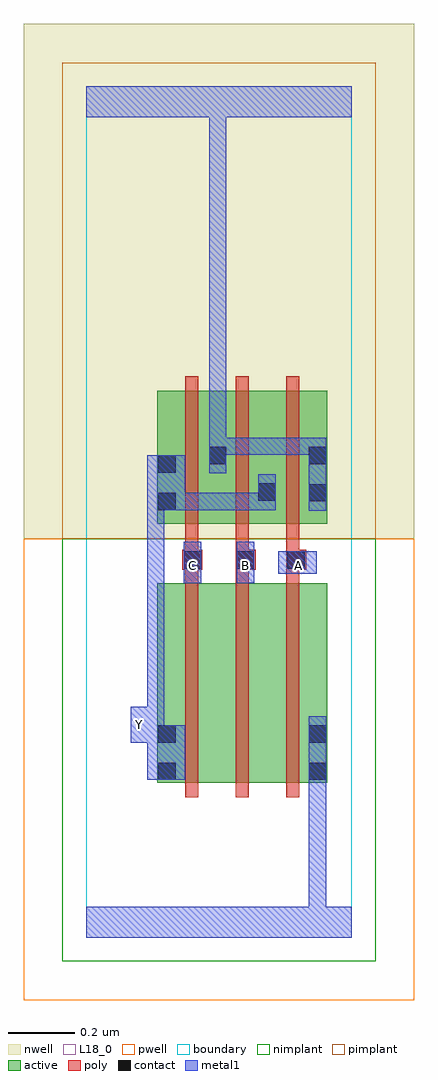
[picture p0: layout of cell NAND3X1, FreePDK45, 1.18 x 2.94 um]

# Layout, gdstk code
import gdstk
lib = gdstk.Library(unit=1e-6, precision=1e-09)
def R(c, l, rs):  # rectangles x0, y0, x1, y1
    for r in rs: c.add(gdstk.rectangle(r[:2], r[2:], *l))
def A(c, l, x, y, w, h, nx, ny, dx, dy):  # array of equal rectangles
    R(c, l, [(x+i*dx, y+j*dy, x+i*dx+w, y+j*dy+h) for i in range(nx) for j in range(ny)])
active = (1, 0)
pwell = (2, 0)
nwell = (3, 0)
nimplant = (4, 0)
pimplant = (5, 0)
poly = (9, 0)
contact = (10, 0)
metal1 = (11, 0)
L18_0 = (18, 0)
boundary = (235, 0)

nand3x1 = lib.new_cell('NAND3X1')
R(nand3x1, active, [(0.214,0.466,0.394,1.066), (0.394,0.466,0.546,1.066), (0.546,0.466,0.726,1.066), (0.666,0.466,0.726,1.066), (0.214,0.47,0.274,1.066), (0.214,1.244,0.274,1.644), (0.214,1.244,0.426,1.644), (0.366,1.244,0.426,1.644), (0.366,1.244,0.574,1.644), (0.514,1.244,0.574,1.644), (0.514,1.244,0.726,1.644), (0.666,1.244,0.726,1.644)])
R(nand3x1, pwell, [(-0.188,-0.188,0.988,1.2)])
R(nand3x1, nwell, [(-0.188,1.2,0.988,2.748)])
R(nand3x1, nimplant, [(-0.072,-0.072,0.872,1.2)])
R(nand3x1, pimplant, [(-0.072,1.2,0.872,2.632)])
A(nand3x1, poly, 0.298, 0.422, 0.04, 0.688, 3, 1, 0.152, 0)
A(nand3x1, poly, 0.298, 1.07, 0.04, 0.076, 3, 1, 0.152, 0)
A(nand3x1, poly, 0.298, 1.126, 0.04, 0.114, 3, 1, 0.152, 0)
A(nand3x1, poly, 0.298, 1.2, 0.04, 0.488, 3, 1, 0.152, 0)
R(nand3x1, poly, [(0.29,1.106,0.35,1.166), (0.45,1.106,0.49,1.146), (0.45,1.106,0.49,1.146), (0.45,1.106,0.51,1.166), (0.602,1.106,0.642,1.146), (0.602,1.106,0.642,1.146), (0.602,1.106,0.662,1.166), (0.298,1.126,0.338,1.166), (0.298,1.126,0.338,1.166)])
R(nand3x1, contact, [(0.218,0.474,0.27,0.526), (0.67,0.474,0.722,0.526), (0.218,0.586,0.27,0.638), (0.67,0.586,0.722,0.638), (0.294,1.11,0.346,1.162), (0.454,1.11,0.506,1.162), (0.606,1.11,0.658,1.162), (0.218,1.286,0.27,1.338), (0.67,1.312,0.722,1.364), (0.518,1.314,0.57,1.366), (0.218,1.398,0.27,1.45), (0.37,1.424,0.422,1.476), (0.67,1.424,0.722,1.476)])
R(nand3x1, metal1, [(0,0,0.8,0.092), (0.67,0.04,0.722,0.092), (0.67,0.04,0.722,0.092), (0.67,0.04,0.722,0.092), (0.67,0.04,0.722,0.092), (0.67,0.04,0.722,0.092), (0.67,0.04,0.722,0.092), (0.67,0.04,0.722,0.498), (0.67,0.446,0.722,0.666), (0.67,0.446,0.722,0.498), (0.67,0.446,0.722,0.498), (0.184,0.474,0.298,0.638), (0.134,0.586,0.236,0.694), (0.184,0.586,0.236,0.638), (0.184,0.642,0.236,1.338), (0.294,1.066,0.346,1.19), (0.454,1.066,0.506,1.19), (0.578,1.094,0.694,1.162), (0.67,1.284,0.722,1.504), (0.184,1.286,0.236,1.338), (0.184,1.286,0.236,1.338), (0.184,1.286,0.298,1.45), (0.246,1.286,0.298,1.338), (0.246,1.286,0.298,1.338), (0.246,1.286,0.46,1.338), (0.408,1.286,0.57,1.338), (0.408,1.286,0.46,1.338), (0.408,1.286,0.46,1.338), (0.408,1.286,0.46,1.338), (0.518,1.286,0.57,1.394), (0.37,1.396,0.422,1.504), (0.37,1.452,0.422,1.504), (0.37,1.452,0.422,1.504), (0.37,1.452,0.422,1.504), (0.37,1.452,0.422,1.504), (0.37,1.452,0.422,1.504), (0.37,1.452,0.422,1.504), (0.37,1.452,0.422,1.504), (0.37,1.452,0.422,1.504), (0.37,1.452,0.422,1.504), (0.37,1.452,0.422,1.504), (0.37,1.452,0.422,1.504), (0.37,1.452,0.422,1.504), (0.37,1.452,0.612,1.504), (0.37,1.452,0.422,2.52), (0.56,1.452,0.722,1.504), (0.56,1.452,0.612,1.504), (0.56,1.452,0.612,1.504), (0.56,1.452,0.612,1.504), (0,2.468,0.8,2.56), (0.37,2.468,0.422,2.52), (0.37,2.468,0.422,2.52), (0.37,2.468,0.422,2.52), (0.37,2.468,0.422,2.52), (0.37,2.468,0.422,2.52), (0.37,2.468,0.422,2.52)])
A(nand3x1, L18_0, 0.294, 1.094, 0.052, 0.052, 3, 1, 0.16, 0)
R(nand3x1, L18_0, [(0,0,0.8,0.092), (0.67,0.04,0.722,0.092), (0.67,0.04,0.722,0.092), (0.67,0.04,0.722,0.092), (0.67,0.04,0.722,0.092), (0.67,0.04,0.722,0.092), (0.67,0.04,0.722,0.092), (0.67,0.04,0.722,0.498), (0.67,0.446,0.722,0.498), (0.67,0.446,0.722,0.498), (0.67,0.446,0.722,0.666), (0.184,0.474,0.298,0.638), (0.134,0.586,0.236,0.694), (0.184,0.586,0.236,0.638), (0.134,0.614,0.186,0.666), (0.184,0.642,0.236,1.338), (0.294,1.066,0.346,1.19), (0.454,1.066,0.506,1.19), (0.578,1.094,0.694,1.162), (0.67,1.284,0.722,1.504), (0.184,1.286,0.298,1.45), (0.184,1.286,0.236,1.338), (0.184,1.286,0.236,1.338), (0.246,1.286,0.298,1.338), (0.246,1.286,0.298,1.338), (0.246,1.286,0.46,1.338), (0.408,1.286,0.46,1.338), (0.408,1.286,0.46,1.338), (0.408,1.286,0.46,1.338), (0.408,1.286,0.57,1.338), (0.518,1.286,0.57,1.394), (0.37,1.396,0.422,1.504), (0.37,1.452,0.422,1.504), (0.37,1.452,0.422,1.504), (0.37,1.452,0.422,1.504), (0.37,1.452,0.422,1.504), (0.37,1.452,0.422,1.504), (0.37,1.452,0.422,1.504), (0.37,1.452,0.422,1.504), (0.37,1.452,0.422,1.504), (0.37,1.452,0.422,1.504), (0.37,1.452,0.422,1.504), (0.37,1.452,0.422,1.504), (0.37,1.452,0.422,1.504), (0.37,1.452,0.422,2.52), (0.37,1.452,0.612,1.504), (0.56,1.452,0.612,1.504), (0.56,1.452,0.612,1.504), (0.56,1.452,0.612,1.504), (0.56,1.452,0.722,1.504), (0,2.468,0.8,2.56), (0.37,2.468,0.422,2.52), (0.37,2.468,0.422,2.52), (0.37,2.468,0.422,2.52), (0.37,2.468,0.422,2.52), (0.37,2.468,0.422,2.52), (0.37,2.468,0.422,2.52)])
R(nand3x1, boundary, [(0,0,0.8,2.56)])
nand3x1.add(gdstk.Label('A', (0.64,1.12), layer=11, texttype=0))
nand3x1.add(gdstk.Label('B', (0.48,1.12), layer=11, texttype=0))
nand3x1.add(gdstk.Label('C', (0.32,1.12), layer=11, texttype=0))
nand3x1.add(gdstk.Label('Y', (0.16,0.64), layer=11, texttype=0))

lib.write_gds('NAND3X1.gds')
